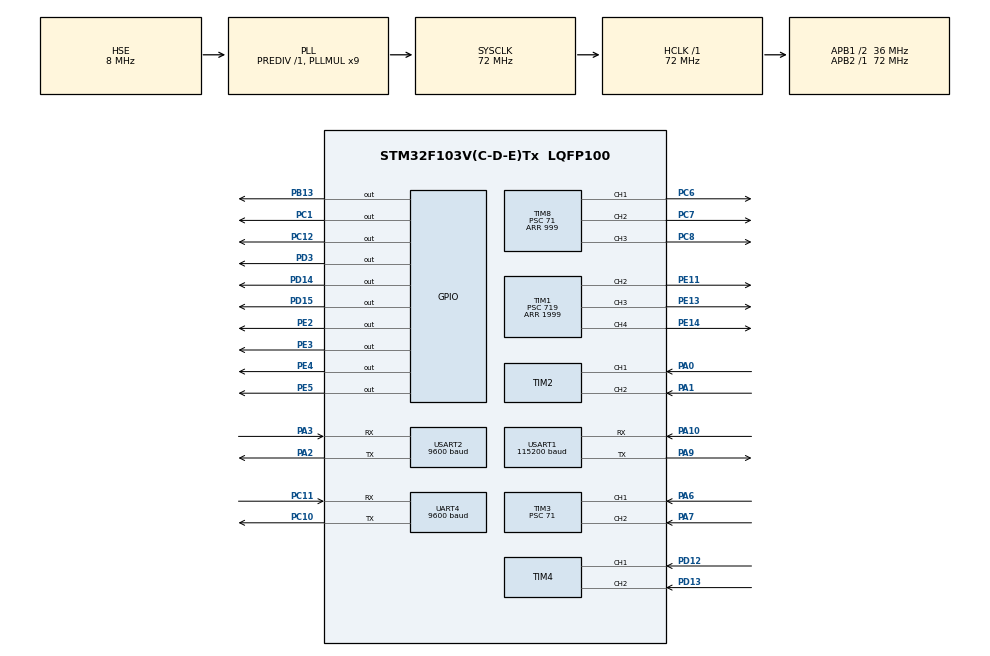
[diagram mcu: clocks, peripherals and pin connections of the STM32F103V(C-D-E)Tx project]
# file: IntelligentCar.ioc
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Mcu.Family=STM32F1
Mcu.Name=STM32F103V(C-D-E)Tx
Mcu.Package=LQFP100
NVIC.PriorityGroup=NVIC_PRIORITYGROUP_4
NVIC.TIM1_BRK_IRQn=true\:2\:0\:true\:false\:true\:true\:true\:true
NVIC.TIM1_CC_IRQn=true\:2\:0\:true\:false\:true\:true\:true\:true
NVIC.TIM1_TRG_COM_IRQn=true\:2\:0\:true\:false\:true\:true\:true\:true
NVIC.TIM1_UP_IRQn=true\:2\:0\:true\:false\:true\:true\:true\:true
NVIC.TIM3_IRQn=true\:1\:0\:true\:false\:true\:true\:true\:true
NVIC.TIM6_IRQn=true\:1\:0\:true\:false\:true\:true\:true\:true
NVIC.TIM7_IRQn=true\:1\:0\:true\:false\:true\:true\:true\:true
NVIC.TIM8_BRK_IRQn=true\:1\:0\:true\:false\:true\:true\:true\:true
NVIC.TIM8_CC_IRQn=true\:1\:0\:true\:false\:true\:true\:true\:true
NVIC.TIM8_TRG_COM_IRQn=true\:1\:0\:true\:false\:true\:true\:true\:true
NVIC.TIM8_UP_IRQn=true\:1\:0\:true\:false\:true\:true\:true\:true
NVIC.USART1_IRQn=true\:0\:0\:true\:false\:true\:true\:true\:true
OSC_IN.Mode=HSE-External-Oscillator
OSC_IN.Signal=RCC_OSC_IN
OSC_OUT.Mode=HSE-External-Oscillator
OSC_OUT.Signal=RCC_OSC_OUT
PA0-WKUP.Signal=S_TIM2_CH1_ETR
PA1.Signal=S_TIM2_CH2
PA10.Mode=Asynchronous
PA10.Signal=USART1_RX
PA13.Mode=Serial_Wire
PA13.Signal=SYS_JTMS-SWDIO
PA14.Mode=Serial_Wire
PA14.Signal=SYS_JTCK-SWCLK
PA2.Mode=Asynchronous
PA2.Signal=USART2_TX
PA3.Mode=Asynchronous
PA3.Signal=USART2_RX
PA6.GPIO_PuPd=GPIO_PULLDOWN
PA6.Signal=S_TIM3_CH1
PA7.GPIO_PuPd=GPIO_PULLDOWN
PA7.Signal=S_TIM3_CH2
PA9.Mode=Asynchronous
PA9.Signal=USART1_TX
PB13.Signal=GPIO_Output
PC1.Signal=GPIO_Output
PC10.Mode=Asynchronous
PC10.Signal=UART4_TX
PC11.Mode=Asynchronous
PC11.Signal=UART4_RX
PC12.Signal=GPIO_Output
PC14-OSC32_IN.Mode=LSE-External-Oscillator
PC14-OSC32_IN.Signal=RCC_OSC32_IN
PC15-OSC32_OUT.Mode=LSE-External-Oscillator
PC15-OSC32_OUT.Signal=RCC_OSC32_OUT
PC6.Signal=S_TIM8_CH1
PC7.Signal=S_TIM8_CH2
PC8.Signal=S_TIM8_CH3
PD12.Signal=S_TIM4_CH1
PD13.Signal=S_TIM4_CH2
PD14.Signal=GPIO_Output
PD15.Signal=GPIO_Output
PD3.Signal=GPIO_Output
PE11.Signal=S_TIM1_CH2
PE13.Signal=S_TIM1_CH3
PE14.Signal=S_TIM1_CH4
PE2.Signal=GPIO_Output
PE3.Signal=GPIO_Output
PE4.Signal=GPIO_Output
PE5.Signal=GPIO_Output
ProjectManager.HeapSize=0x200
ProjectManager.StackSize=0x400
ProjectManager.TargetToolchain=STM32CubeIDE
RCC.AHBFreq_Value=72000000
RCC.APB1CLKDivider=RCC_HCLK_DIV2
RCC.APB1Freq_Value=36000000
RCC.APB1TimFreq_Value=72000000
RCC.APB2Freq_Value=72000000
RCC.APB2TimFreq_Value=72000000
RCC.HCLKFreq_Value=72000000
RCC.PLLMUL=RCC_PLL_MUL9
RCC.PLLSourceVirtual=RCC_PLLSOURCE_HSE
RCC.SYSCLKFreq_VALUE=72000000
RCC.SYSCLKSource=RCC_SYSCLKSOURCE_PLLCLK
RCC.USBFreq_Value=72000000
SH.S_TIM1_CH2.0=TIM1_CH2,PWM Generation2 CH2
SH.S_TIM1_CH3.0=TIM1_CH3,PWM Generation3 CH3
SH.S_TIM1_CH4.0=TIM1_CH4,PWM Generation4 CH4
SH.S_TIM2_CH1_ETR.0=TIM2_CH1,Encoder_Interface
SH.S_TIM2_CH2.0=TIM2_CH2,Encoder_Interface
SH.S_TIM3_CH1.0=TIM3_CH1,Input_Capture1_from_TI1
SH.S_TIM3_CH2.0=TIM3_CH2,Input_Capture2_from_TI2
SH.S_TIM4_CH1.0=TIM4_CH1,Encoder_Interface
SH.S_TIM4_CH2.0=TIM4_CH2,Encoder_Interface
SH.S_TIM8_CH1.0=TIM8_CH1,PWM Generation1 CH1
SH.S_TIM8_CH2.0=TIM8_CH2,PWM Generation2 CH2
SH.S_TIM8_CH3.0=TIM8_CH3,PWM Generation3 CH3
TIM1.Channel-PWM\ Generation2\ CH2=TIM_CHANNEL_2
TIM1.Channel-PWM\ Generation3\ CH3=TIM_CHANNEL_3
TIM1.Channel-PWM\ Generation4\ CH4=TIM_CHANNEL_4
TIM1.OCPolarity_3=TIM_OCPOLARITY_HIGH
TIM1.OCPolarity_4=TIM_OCPOLARITY_HIGH
TIM1.Period=1999
TIM1.Prescaler=719
TIM1.Pulse-PWM\ Generation3\ CH3=60
TIM1.Pulse-PWM\ Generation4\ CH4=60
TIM2.CounterMode=TIM_COUNTERMODE_UP
TIM2.EncoderMode=TIM_ENCODERMODE_TI12
TIM2.IC1Filter=6
TIM2.IC2Filter=6
TIM3.Channel-Input_Capture1_from_TI1=TIM_CHANNEL_1
TIM3.Channel-Input_Capture2_from_TI2=TIM_CHANNEL_2
TIM3.Period=1999
TIM3.Prescaler=71
TIM4.CounterMode=TIM_COUNTERMODE_UP
TIM4.EncoderMode=TIM_ENCODERMODE_TI12
TIM4.IC1Filter=6
TIM4.IC2Filter=6
TIM6.AutoReloadPreload=TIM_AUTORELOAD_PRELOAD_ENABLE
TIM6.Period=499
TIM6.Prescaler=7199
TIM7.AutoReloadPreload=TIM_AUTORELOAD_PRELOAD_ENABLE
TIM7.Period=999
TIM7.Prescaler=7199
TIM8.AutoReloadPreload=TIM_AUTORELOAD_PRELOAD_DISABLE
TIM8.Channel-PWM\ Generation1\ CH1=TIM_CHANNEL_1
TIM8.Channel-PWM\ Generation2\ CH2=TIM_CHANNEL_2
TIM8.Channel-PWM\ Generation3\ CH3=TIM_CHANNEL_3
TIM8.OCPolarity_3=TIM_OCPOLARITY_HIGH
TIM8.Period=999
TIM8.Prescaler=71
TIM8.Pulse-PWM\ Generation3\ CH3=500
UART4.BaudRate=9600
UART4.VirtualMode=Asynchronous
USART1.BaudRate=115200
USART1.VirtualMode=VM_ASYNC
USART2.BaudRate=9600
USART2.VirtualMode=VM_ASYNC
VP_TIM1_VS_ClockSourceINT.Mode=Internal
VP_TIM3_VS_ClockSourceINT.Mode=Internal
VP_TIM6_VS_ClockSourceINT.Mode=Enable_Timer
VP_TIM7_VS_ClockSourceINT.Mode=Enable_Timer
VP_TIM8_VS_ClockSourceINT.Mode=Internal
board=custom

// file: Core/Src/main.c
/* USER CODE BEGIN Header */
/**
  ******************************************************************************
  * @file           : main.c
  * @brief          : Main program body
  ******************************************************************************
  * @attention
  *
  * Copyright (c) 2022 STMicroelectronics.
  * All rights reserved.
  *
  * This software is licensed under terms that can be found in the LICENSE file
  * in the root directory of this software component.
  * If no LICENSE file comes with this software, it is provided AS-IS.
  *
  ******************************************************************************
  */
/* USER CODE END Header */
#include "main.h"
#include "tim.h"
#include "usart.h"
#include "gpio.h"

/* USER CODE BEGIN Includes */
#include "math.h"
#include "MOTOR.h"
#include "SERVO.h"
#include "PID.h"
#include "BLUETOOTH.h"
#include "IMU.h"
/* USER CODE END Includes */

/* USER CODE BEGIN PD */
#define BOUNDARY_THRESHOLD 5
#define FAR_BOUNDARY_THRESHOLD 40
#define BALL_ANGLE_THRESHOLD 7.5
#define BALL_BLIND_DIST 25
#define BALL_FAR_DIST 60
#define CRUISE_PWM 700
#define TURN_PWM 700
#define DUMP_THRESHOLD 20
#define CRUISE_VELOCITY 0.3
#define TURN_VELOCITY 0.25
#define DESTINATION_DIST 25
#define NO_BALL 450
/* USER CODE END PD */

/* USER CODE BEGIN PV */

/***电机***/

float EncoderDist_R;	//采样时间Distance
uint8_t EncoderDir_R;
float EncoderDist_L;
uint8_t EncoderDir_L;
PID EncoderPID_L, EncoderPID_R;
uint8_t Open_PID = 0;	//0-Close, 1-Straight, 2-TurnRight 3-TurnLeft

/***超声***/
float Distance_L;
float Distance_R;

/***OpenMV***/
uint8_t OpenMV_Rxbuf[12];
ImageRecognitionRes ImgRes;

/***Motion Control***/
int State;
/*
 * 1-Find ball no boundary
 * 2-turn and target
 * 3-approach
 * 4-catch
 * 5-Go Far
 * 6-Return
 * 7-Front Obstacle, back
 * 8-Right Obstacle, left
*/
int FindBallSubState = 0;	//State1 Sub
int TargetSubState = 0;	//State2 Sub
int CatchBallSubState = 1;	//State4 Sub
int GoFarSubState = 1;	//State5 Sub
int ReturnSubState = 1;	//State6 Sub
int FindGreenSubState = 0;	//State 6 Find Sub
//int ObstacleSubState = 1;	//State 7 Sub

//struct {
//	float x;
//	float y;
//} Position;

int StateCnt = 0;
int FindCnt = 0;	//State1 Counter
int TargetCnt = 0;	//State 2 Counter
int CatchCnt = 0;	//State4 Counter
int GoFarCnt = 0;	//State5 Counter
uint8_t ReturnFlag = 0;	//State6 Flag
int ReturnCnt = 0;	//State6 Counter
int FrontObstacleCnt = 0;	//State7 Counter
int RightObstacleCnt = 0;	//State8 Counter

struct {
	ImageRecognitionRes img;
	float dist_L;
	float dist_R;
	float angle;
} CurrentInfo;

int TurnTimes = 0;

int BallCatch = 0;

uint8_t TimeOut = 0;

uint8_t DumpFlag = 0;

/* USER CODE END PV */

void SystemClock_Config(void);

int main(void)
{

  /* MCU Configuration--------------------------------------------------------*/

  /* Reset of all peripherals, Initializes the Flash interface and the Systick. */
  HAL_Init();

  /* Configure the system clock */
  SystemClock_Config();

  /* USER CODE BEGIN SysInit */
//  Init_IMU();
  /* USER CODE END SysInit */

  /* Initialize all configured peripherals */
  MX_GPIO_Init();
  MX_TIM8_Init();
  MX_TIM1_Init();
  MX_USART1_UART_Init();
  MX_TIM2_Init();
  MX_USART2_UART_Init();
  MX_TIM4_Init();
  MX_TIM3_Init();
  MX_TIM6_Init();
  MX_UART4_Init();
  MX_TIM7_Init();
  /* USER CODE BEGIN 2 */

  /*State Control 100ms*/
  HAL_TIM_Base_Start_IT(&htim7);

  /*舵机TIM1*/
  HAL_TIM_PWM_Start(&htim1, TIM_CHANNEL_2);
  HAL_TIM_PWM_Start(&htim1, TIM_CHANNEL_3);
  HAL_TIM_PWM_Start(&htim1, TIM_CHANNEL_4);
  Servo_Control_UP(0);
  Servo_Control_DOWN(2);
  Servo_Cam(0);

  /*电机TIM8*/
  HAL_TIM_Base_Start_IT(&htim8);
  HAL_TIM_PWM_Start_IT(&htim8, TIM_CHANNEL_1);
  HAL_TIM_PWM_Start_IT(&htim8, TIM_CHANNEL_2);
  HAL_TIM_PWM_Start_IT(&htim8, TIM_CHANNEL_3);

  /*编码器TIM2 TIM4*/
  HAL_TIM_Encoder_Start(&htim2, TIM_CHANNEL_ALL);
  HAL_TIM_Encoder_Start(&htim4, TIM_CHANNEL_ALL);

  /*编码器TIM2*/
  HAL_TIM_Base_Start_IT(&htim2);

  /*OpenMV USART1*/
  HAL_UART_Receive_IT(&huart1, OpenMV_Rxbuf, sizeof(OpenMV_Rxbuf));

  /*超声TIM3&6*/
  HAL_TIM_Base_Start_IT(&htim3);	//输入捕获
  HAL_TIM_Base_Start_IT(&htim6);	//定时中断

  HAL_GPIO_WritePin(GPIOB, GPIO_PIN_13, SET);
  /* USER CODE END 2 */

  /* Infinite loop */
  /* USER CODE BEGIN WHILE */
  while (1)
  {
	  motorC();
	  if(StateCnt != 0)
	  {
		  //car state
		  CurrentInfo.img = ImgRes;
		  CurrentInfo.dist_L = Distance_L;
		  CurrentInfo.dist_R = Distance_R;
		  CurrentInfo.angle = Get_Angle_IMU();

		  if(CurrentInfo.angle < 0)
			  CurrentInfo.angle += 360;

		  set_ccr(0, 0);
		  Open_PID = 0;

//		  State = 6;
//		  BallCatch = 10;
#if 1
		  if(CatchBallSubState != 1)
		  {
			  TurnTimes = 0;
			  State = 4;
		  }
		  else if(CurrentInfo.img.find_ball == 0 && TurnTimes <= NO_BALL)
		  {
			  TurnTimes++;
			  State = 1;
			  CatchBallSubState = 1;
		  }
		  else if(CurrentInfo.img.find_ball == 1 && (CurrentInfo.img.angle > BALL_ANGLE_THRESHOLD && CurrentInfo.img.distance < BALL_FAR_DIST) )
		  {
//			  TurnTimes = 0;
			  State = 2;
			  CatchBallSubState = 1;
		  }
		  else if(CurrentInfo.img.find_ball == 1 && CurrentInfo.img.angle <= BALL_ANGLE_THRESHOLD && CurrentInfo.img.distance <= BALL_BLIND_DIST+10)
		  {
			  TurnTimes = 0;
			  State = 4;
		  }
		  else if(CurrentInfo.img.find_ball == 1 && ((CurrentInfo.img.angle <= BALL_ANGLE_THRESHOLD && CurrentInfo.img.distance > BALL_BLIND_DIST) || CurrentInfo.img.distance >= BALL_FAR_DIST))
		  {
//			  TurnTimes = 0;
			  State = 3;
			  CatchBallSubState = 1;
		  }

		  if((BallCatch >= 999 || TurnTimes > NO_BALL || TimeOut == 1) && ReturnFlag == 0)
		  {
			  State = 5;
			  CatchBallSubState = 1;
#if 0	//左下角用这段
			  if(!(CurrentInfo.angle >= 270 && CurrentInfo.angle <= 350))
			  {
				  GoFarSubState = 1;
			  }
#endif
#if 1	//右上角用这段
			  if(!(CurrentInfo.angle >= 100 && CurrentInfo.angle <= 160))
			  {
				  GoFarSubState = 1;
			  }
#endif
			  else if(CurrentInfo.dist_L > FAR_BOUNDARY_THRESHOLD)
			  {
				  GoFarSubState = 2;
			  }
			  else
			  {
				  ReturnFlag = 1;
			  }

		  }

		  if(ReturnFlag == 1)
		  {
			  State = 6;
			  CatchBallSubState = 1;
#if 0	//左下角用这段
			  if(CurrentInfo.img.find_green == 0 || !(CurrentInfo.angle >= 150 && CurrentInfo.angle <= 250))
			  {
				  ReturnSubState = 1;
			  }
#endif
#if 1	//右上角用这段
			  if(CurrentInfo.img.find_green == 0 || !(CurrentInfo.angle <= 120 || CurrentInfo.angle >= 290))
			  {
				  ReturnSubState = 1;
			  }
#endif
			  else if(CurrentInfo.img.find_green == 1 &&
					  ((CurrentInfo.dist_R <= 22 && CurrentInfo.dist_L <= 40)
							  || (CurrentInfo.dist_R > 50 && CurrentInfo.dist_L <= 22)))
			  {
				  if(CurrentInfo.dist_R <= 22 && CurrentInfo.dist_L <= 40)
					  ReturnSubState = 3;
				  else
					  ReturnSubState = 4;
			  }
			  else
			  {
				  ReturnSubState = 2;
			  }
		  }

		  if(State != 4 && CurrentInfo.img.find_ball == 0 && (CurrentInfo.dist_L <= BOUNDARY_THRESHOLD || CurrentInfo.dist_R <= BOUNDARY_THRESHOLD) && BallCatch < 9)
		  {
			  CatchBallSubState = 1;
			  if(CurrentInfo.dist_L <= BOUNDARY_THRESHOLD)
				  State = 7;
			  else if(CurrentInfo.dist_R <= BOUNDARY_THRESHOLD)
				  State = 8;
		  }

		  if(RightObstacleCnt != 0)
			  State = 8;

		  SendInt(State);
#endif

		  switch(State)
		  {
		  case 1:	//State 1
			  Servo_Cam(0);
//			  TurnTimes++;
			  if(FindBallSubState == 0)
			  {
				  if(FindCnt == 0)
				  {
					  Encoder_PID_init(&EncoderPID_L, TURN_PWM, TURN_VELOCITY);
					  Encoder_PID_init(&EncoderPID_R, TURN_PWM, TURN_VELOCITY);
				  }
				  set_ccr(-TURN_PWM, TURN_PWM);
				  Open_PID = 2;
				  if(FindCnt++ == 3)
				  {
					  FindCnt = 0;
					  FindBallSubState = 1;
				  }
			  }
			  else
			  {
				  set_ccr(0, 0);
				  Open_PID = 0;
				  if(FindCnt++ == 3)
				  {
				  	  FindCnt = 0;
				  	  FindBallSubState = 0;
				  }
			  }
			  StateCnt = 0;
			  break;
		  case 2:	//State 2
			  Servo_Cam(0);
			  if(TargetSubState == 0)
			  {
				  if(TargetCnt == 0)
				  {
					  Encoder_PID_init(&EncoderPID_L, TURN_PWM, TURN_VELOCITY);
					  Encoder_PID_init(&EncoderPID_R, TURN_PWM, TURN_VELOCITY);
				  }

				  if(CurrentInfo.img.dir == 0)	//ball on the left
				  {
				  		set_ccr(TURN_PWM, -TURN_PWM);
				  		Open_PID = 3;
				  }
				  else
				  {
				  		set_ccr(-TURN_PWM, TURN_PWM);
				  		Open_PID = 2;
				  }

				  if(TargetCnt++ == 2)
				  {
					  TargetCnt = 0;
					  TargetSubState = 1;
				  }
			  }
			  else
			  {
				  set_ccr(0, 0);
				  Open_PID = 0;
				  if(TargetCnt++ == 3)
				  {
					  TargetCnt = 0;
					  TargetSubState = 0;
				  }
			  }

			  StateCnt = 0;
			  break;

		  case 3:	//State 3
			  Servo_Cam(0);
			  Encoder_PID_init(&EncoderPID_L, CRUISE_PWM, CRUISE_VELOCITY);
			  Encoder_PID_init(&EncoderPID_R, CRUISE_PWM, CRUISE_VELOCITY);
			  set_ccr(CRUISE_PWM, CRUISE_PWM);
			  Open_PID = 1;
			  StateCnt = 0;
			  break;

		  case 4:	//State 4
			  Open_PID = 0;
			  switch(CatchBallSubState)
			  {
			  case 1:
				  set_ccr(0, 0);
//				  if(CatchCnt < 10)
					  Servo_Control_DOWN(1);
					  Servo_Cam(1);
//				  else
				  {
					  CatchBallSubState = 3;
					  CatchCnt = 0;
					  StateCnt = 0;
				  }
				  break;
//			  case 2:
//				  set_ccr(0, 0);
//				  if(CatchCnt < 5)
//
//				  else
//				  {
//					  CatchBallSubState = 3;
//					  CatchCnt = 0;
//					  StateCnt = 0;
//				  }
//				  break;
			  case 3:
				  if(CatchCnt < 10)
				  {
					  Encoder_PID_init(&EncoderPID_L, CRUISE_PWM, CRUISE_VELOCITY);
					  Encoder_PID_init(&EncoderPID_R, CRUISE_PWM, CRUISE_VELOCITY);
					  set_ccr(CRUISE_PWM, CRUISE_PWM);
					  Open_PID = 1;
				  }
				  else
				  {
					  set_ccr(0, 0);
					  Open_PID = 0;
					  CatchBallSubState = 4;
					  CatchCnt = 0;
					  StateCnt = 0;
				  }
				  break;
			  case 4:
				  set_ccr(0, 0);
				  Open_PID = 0;
//				  if(CatchCnt < 5)
					  Servo_Control_DOWN(2);
//				  else
				  {
					  Servo_Cam(0);
					  BallCatch++;
					  CatchBallSubState = 1;
					  CatchCnt = 0;
					  StateCnt = 0;
				  }
				  break;
			  }
			  break;
		  case 5:	//State 5
			  switch(GoFarSubState)
			  {
			  case 1:
				  Encoder_PID_init(&EncoderPID_L, TURN_PWM, TURN_VELOCITY);
				  Encoder_PID_init(&EncoderPID_R, TURN_PWM, TURN_VELOCITY);
				  set_ccr(TURN_PWM, -TURN_PWM);
				  Open_PID = 3;
				  StateCnt = 0;
				  break;
			  case 2:
				  Encoder_PID_init(&EncoderPID_L, CRUISE_PWM, CRUISE_VELOCITY);
				  Encoder_PID_init(&EncoderPID_R, CRUISE_PWM, CRUISE_VELOCITY);
				  set_ccr(CRUISE_PWM, CRUISE_PWM);
				  Open_PID = 1;
				  StateCnt = 0;
				  break;
			  }
			  break;
		  case 6:	//State 6
			  switch(ReturnSubState)
			  {
			  case 1:
				  Servo_Control_DOWN(0);
				  if(FindGreenSubState == 0)
				  {
					  if(ReturnCnt == 0)
					  {
						  Encoder_PID_init(&EncoderPID_L, TURN_PWM, TURN_VELOCITY);
						  Encoder_PID_init(&EncoderPID_R, TURN_PWM, TURN_VELOCITY);
					  }
					  set_ccr(TURN_PWM, -TURN_PWM);
					  Open_PID = 3;
					  if(ReturnCnt++ == 3)
					  {
						  ReturnCnt = 0;
						  FindGreenSubState = 1;
					  }
				  }
				  else
				  {
					  set_ccr(0, 0);
					  Open_PID = 0;
					  if(ReturnCnt++ == 3)
					  {
						  ReturnCnt = 0;
						  FindGreenSubState = 0;
					  }
				  }
				  StateCnt = 0;
				  break;

			  case 2:
				  Encoder_PID_init(&EncoderPID_L, CRUISE_PWM, CRUISE_VELOCITY);
				  Encoder_PID_init(&EncoderPID_R, CRUISE_PWM, CRUISE_VELOCITY);
				  set_ccr(CRUISE_PWM, CRUISE_PWM);
				  Open_PID = 1;
				  StateCnt = 0;
				  break;
			  case 3:
				  if(ReturnCnt == 0)
				  {
					  Encoder_PID_init(&EncoderPID_L, TURN_PWM, TURN_VELOCITY);
					  Encoder_PID_init(&EncoderPID_R, TURN_PWM, TURN_VELOCITY);
				  }
				  set_ccr(TURN_PWM, -TURN_PWM);
				  Open_PID = 3;
				  if(ReturnCnt++ == 6)
				  {
					  ReturnCnt = 0;
					  Brake();
					  Open_PID = 0;
					  Servo_Control_DOWN(0);
					  Dump();
					  set_ccr(-CRUISE_PWM, -CRUISE_PWM);
					  HAL_Delay(500);
					  Servo_Control_DOWN(2);
					  TurnTimes = 0;
					  BallCatch = 0;
					  ReturnFlag = 0;
					  StateCnt = 0;
				  }
				  break;
			  case 4:
				  ReturnCnt = 0;
				  Brake();
				  Open_PID = 0;
				  Servo_Control_DOWN(0);
				  if(DumpFlag == 1)
				  {
					  Dump();
					  set_ccr(-CRUISE_PWM, -CRUISE_PWM);
					  HAL_Delay(500);
					  Servo_Control_DOWN(2);
					  TurnTimes = 0;
					  BallCatch = 0;
					  ReturnFlag = 0;
					  StateCnt = 0;
				  }

				  break;
			  }
			  break;
		  case 7:	//State 7
			  Servo_Cam(0);
			  if(FrontObstacleCnt < 16)
			  {
				  set_ccr(-CRUISE_PWM, -CRUISE_PWM);
				  Open_PID = 0;
			  }
			  else
			  {
				  set_ccr(0, 0);
				  Open_PID = 0;
				  StateCnt = 0;
				  FrontObstacleCnt = 0;
			  }
			  break;
		  case 8:
			  Servo_Cam(0);
			  if(RightObstacleCnt++ < 50)
			  {
				  set_ccr(TURN_PWM, -TURN_PWM);
				  Open_PID = 0;
			  }
			  else
			  {
				  set_ccr(CRUISE_PWM, CRUISE_PWM);
				  Open_PID = 0;
				  StateCnt = 0;
				  RightObstacleCnt = 0;
			  }
			  break;
		  }
	  }
    /* USER CODE END WHILE */

  }
}

void SystemClock_Config(void)
{
  RCC_OscInitTypeDef RCC_OscInitStruct = {0};
  RCC_ClkInitTypeDef RCC_ClkInitStruct = {0};

  /** Initializes the RCC Oscillators according to the specified parameters
  * in the RCC_OscInitTypeDef structure.
  */
  RCC_OscInitStruct.OscillatorType = RCC_OSCILLATORTYPE_HSE;
  RCC_OscInitStruct.HSEState = RCC_HSE_ON;
  RCC_OscInitStruct.HSEPredivValue = RCC_HSE_PREDIV_DIV1;
  RCC_OscInitStruct.HSIState = RCC_HSI_ON;
  RCC_OscInitStruct.PLL.PLLState = RCC_PLL_ON;
  RCC_OscInitStruct.PLL.PLLSource = RCC_PLLSOURCE_HSE;
  RCC_OscInitStruct.PLL.PLLMUL = RCC_PLL_MUL9;
  if (HAL_RCC_OscConfig(&RCC_OscInitStruct) != HAL_OK)
  {
    Error_Handler();
  }

  /** Initializes the CPU, AHB and APB buses clocks
  */
  RCC_ClkInitStruct.ClockType = RCC_CLOCKTYPE_HCLK|RCC_CLOCKTYPE_SYSCLK
                              |RCC_CLOCKTYPE_PCLK1|RCC_CLOCKTYPE_PCLK2;
  RCC_ClkInitStruct.SYSCLKSource = RCC_SYSCLKSOURCE_PLLCLK;
  RCC_ClkInitStruct.AHBCLKDivider = RCC_SYSCLK_DIV1;
  RCC_ClkInitStruct.APB1CLKDivider = RCC_HCLK_DIV2;
  RCC_ClkInitStruct.APB2CLKDivider = RCC_HCLK_DIV1;

  if (HAL_RCC_ClockConfig(&RCC_ClkInitStruct, FLASH_LATENCY_2) != HAL_OK)
  {
    Error_Handler();
  }
}

void Error_Handler(void)
{
  __disable_irq();
  while (1)
  {
  }
}
